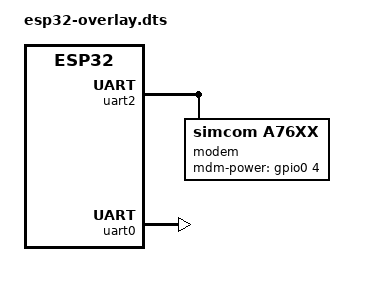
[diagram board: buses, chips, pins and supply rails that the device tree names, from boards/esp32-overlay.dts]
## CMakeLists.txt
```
# SPDX-License-Identifier: Apache-2.0

cmake_minimum_required(VERSION 3.20.0)

find_package(Zephyr REQUIRED HINTS $ENV{ZEPHYR_BASE})
project(cellular_update)
zephyr_library_include_directories(${ZEPHYR_BASE}/drivers/modem)
zephyr_library_include_directories(${ZEPHYR_BASE}/subsys/net/ip)  # more include dirs needed
zephyr_library_include_directories(${ZEPHYR_BASE}/subsys/net/lib/sockets)  # more include dirs needed
target_sources(app PRIVATE src/main.c)
```

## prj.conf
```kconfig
CONFIG_BOOTLOADER_MCUBOOT=y

# Log config
CONFIG_LOG=y
CONFIG_LOG_DEFAULT_LEVEL=3
CONFIG_MODEM_LOG_LEVEL_DBG=y
CONFIG_UART_LOG_LEVEL_DBG=y
CONFIG_MODEM_CONTEXT_VERBOSE_DEBUG=y
CONFIG_LOG_MODE_IMMEDIATE=y
CONFIG_LOG_MODE_MINIMAL=y
# CONFIG_LOG_THREAD_ID_PREFIX=y
# CONFIG_LOG_TRACE_SHORT_TIMESTAMP=y

# Networking systems
CONFIG_NETWORKING=y
CONFIG_NET_OFFLOAD=y
# needed for MODEM_SOCKET
CONFIG_NET_SOCKETS=y
# needed for socket_offload.h
CONFIG_NET_SOCKETS_OFFLOAD=y
# needed for pollfd (and probably other stuff)
CONFIG_POSIX_API=y
# only allow ipv4
CONFIG_NET_IPV4=y
CONFIG_NET_IPV6=n
# Network events
CONFIG_NET_MGMT=y
CONFIG_NET_MGMT_EVENT=y

# Modem config
CONFIG_MODEM=y
CONFIG_MODEM_A76XX=y
CONFIG_MODEM_SIM_NUMBERS=n
CONFIG_MODEM_SIMCOM_A76XX_RAT_NB1=n
CONFIG_MODEM_SIMCOM_A76XX_RAT_M1=n
CONFIG_MODEM_SIMCOM_A76XX_RAT_GSM=y

# Coap stuff
CONFIG_COAP=y

# Core dumping for debugging
# CONFIG_DEBUG_COREDUMP=y
# CONFIG_DEBUG_COREDUMP_BACKEND_LOGGING=y






































































# # # CONFIG_MODEM_CONTEXT_VERBOSE_DEBUG=y

# # # ---------------------------------
# # # Stuff below i got from the modem examples
# # # ---------------------------------

# # # CONFIG_POSIX_API=y

# # # # Networking
# # CONFIG_NETWORKING=y
# # CONFIG_NET_NATIVE=y
# # CONFIG_NET_L2_PPP=y
# CONFIG_NET_IPV4=y
# CONFIG_NET_IPV6=n
# CONFIG_NET_UDP=y
# CONFIG_NET_SOCKETS=y
# # CONFIG_NET_CONTEXT_RCVTIMEO=y

# # # # DNS
# # CONFIG_DNS_RESOLVER=y
# # CONFIG_NET_L2_PPP_OPTION_DNS_USE=y

# # # # Network management
# # CONFIG_NET_MGMT=y
# # CONFIG_NET_MGMT_EVENT=y
# # CONFIG_NET_CONNECTION_MANAGER=y

# # # # Uart driver
# CONFIG_SERIAL=y

# # # # Modem driver
# CONFIG_MODEM=y
# CONFIG_MODEM_A76XX=y
# CONFIG_MODEM_SIM_NUMBERS=n
# # # CONFIG_MODEM_SIM7080=y  # just for testing
# # # CONFIG_PM_DEVICE=y
# # # CONFIG_MODEM_CELLULAR=y

# # # # Statistics
# # # CONFIG_MODEM_STATS=y
# # # CONFIG_SHELL=y

# # # # Testing
# # # CONFIG_MODEM_AT_SHELL=y
# # # CONFIG_PM_DEVICE_SHELL=y
# # # CONFIG_SHELL_WILDCARD=n

# # # # Logging
# # # CONFIG_LOG=y
# # # CONFIG_MODEM_MODULES_LOG_LEVEL_DBG=y
# # # # For extra verbosity
# # # #CONFIG_MODEM_CMUX_LOG_LEVEL_DBG=y
# # # #CONFIG_LOG_BUFFER_SIZE=65536

# # # other stuff i added
# # CONFIG_MODEM_SIMCOM_A76XX_RAT_GSM=y

# # # Enable Zephyr's built-in CoAP library
# # CONFIG_COAP=y

# # # Enable the DNS resolver to look up domain names like "coap.me"
# # CONFIG_DNS_RESOLVER=y

# # # Set a default message size for the CoAP client
# # CONFIG_COAP_CLIENT_MESSAGE_SIZE=256


# # # Generic networking options
# # CONFIG_NETWORKING=y
# # CONFIG_REQUIRES_FULL_LIBC=y
# # CONFIG_NET_IPV4=y
# # CONFIG_NET_UDP=y

# # CONFIG_NET_SOCKETS=y
# # CONFIG_ZVFS_POLL_MAX=4
# # CONFIG_POSIX_API=y

# # CONFIG_COAP=y
# # CONFIG_COAP_CLIENT=y

# # # Kernel options
# # CONFIG_ENTROPY_GENERATOR=y
# # CONFIG_TEST_RANDOM_GENERATOR=y

# # # Logging
# # CONFIG_PRINTK=y
# # CONFIG_NET_LOG=y

# # # Network Shell
# # CONFIG_NET_SHELL=y

# # CONFIG_NET_CONFIG_SETTINGS=y
# # CONFIG_NET_CONFIG_NEED_IPV4=y
# # # CONFIG_NET_CONFIG_MY_IPV6_ADDR="2001:db8::2"
# # # CONFIG_NET_CONFIG_PEER_IPV6_ADDR="2001:db8::1"

# # CONFIG_HEAP_MEM_POOL_SIZE=5184

# # # Enable automatic initialization of the default network interface by net_config.
# # # This tells the system to automatically start the modem setup process.
# # # CONFIG_NET_CONFIG_AUTO_INIT=y


# # --- Bootloader ---
# # This is for your firmware updates, it's fine.
# CONFIG_BOOTLOADER_MCUBOOT=y

# # --- Core Networking ---
# # These are the basics needed for any IP-based application.
# CONFIG_NETWORKING=y
# # Socket offload drivers do not use the native Zephyr stack
# CONFIG_NET_NATIVE=n
# CONFIG_NET_SOCKETS=y
# CONFIG_NET_IPV4=y
# CONFIG_NET_UDP=y

# # --- Modem Driver Configuration (THE MOST IMPORTANT PART) ---

# # Enable the main modem subsystem
# CONFIG_MODEM=y

# # 1. CORRECTLY ENABLE YOUR CUSTOM DRIVER
# # Note: The Kconfig is likely CONFIG_MODEM_SIMCOM_A76XX, not A76XX.
# # Please double-check the Kconfig file in your driver directory.
# CONFIG_MODEM_A76XX=y

# # 2. EXPLICITLY DISABLE THE CONFLICTING PPP DRIVER
# # This is the root cause of many of your issues. Your socket offload
# # driver does NOT use or need the PPP protocol.
# CONFIG_NET_L2_PPP=n

# # 3. EXPLICITLY DISABLE THE GENERIC CELLULAR DRIVER
# # This prevents the linker errors we saw earlier.
# CONFIG_MODEM_CELLULAR=n

# # --- Network Management (THE FIX FOR THE TIMEOUT) ---

# # Enable the network management subsystem
# CONFIG_NET_MGMT=y
# CONFIG_NET_MGMT_EVENT=y

# # 4. ENABLE AUTO-START
# # This tells Zephyr to automatically find your modem interface and run its
# # setup sequence. You had this commented out, which is a critical error.
# # CONFIG_NET_CONFIG_AUTO_INIT=y
# # CONFIG_NET_CONFIG_INIT_TIMEOUT=60 # Give it 60 seconds to connect

# # --- Logging ---
# # A clean, basic logging setup.
# # CONFIG_LOG=y
# # CONFIG_LOG_DEFAULT_LEVEL=3 # Print INFO messages by default
# # CONFIG_MODEM_LOG_LEVEL_DBG=y # Enable DEBUG logs specifically for modem drivers
```

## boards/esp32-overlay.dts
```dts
/ {
	chosen {
		zephyr,console = &uart0;
		zephyr,shell-uart = &uart0;
	};

	aliases {
        modem-uart = &uart2;
		modem = &modem;
    };
};


//&pinctrl {
//    uart0_default: uart0_default {
//        group1 {
//            pinmux = <UART0_TX_GPIO1>, <UART0_RTS_GPIO22>;
//            output-high;
//        };
//        group2 {
//            pinmux = <UART0_RX_GPIO3>, <UART0_CTS_GPIO19>;
//            bias-pull-up;
//        };
//    };
//};

&uart2 {
    modem: modem {
		compatible = "simcom,a76xx";
        mdm-power-gpios = <&gpio0 4 GPIO_ACTIVE_HIGH>;
		status = "okay";
	};
    status = "okay";
};

&uart0 {
	status = "okay";
};
```

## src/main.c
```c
// ------------------------ START BASIC HELLO A76XX ------------------------>
// #include <stdio.h>
// #include <zephyr/device.h>
// #include <zephyr/kernel.h>
// #include <zephyr/logging/log.h>
// LOG_MODULE_REGISTER(main, LOG_LEVEL_DBG);
// #include "app/drivers/simcom-a76xx.h"

// // const struct device *modem = DEVICE_DT_GET(DT_ALIAS(modem));
// // const struct device *modem_uart = DEVICE_DT_GET(DT_ALIAS(modem_uart));

// int main(void)
// {
//     printf("Hello World! %s\n", CONFIG_BOARD_TARGET);

//     // if (!device_is_ready(modem) || !device_is_ready(modem_uart))
//     // {
//     //     printf("ERROR: Modem devices not found or not ready.\n");
//     //     return -1;
//     // }
//     // printf("SUCCESS: Successfully got modem device handle: %s\n", modem->name);

//     while (1) {
//         k_sleep(K_SECONDS(10));
//     }
//     return 0;
// }
// ------------------------ END BASIC HELLO A76XX ------------------------>


#include <zephyr/logging/log.h>
LOG_MODULE_REGISTER(main, LOG_LEVEL_DBG);

#include <errno.h>
#include <zephyr/sys/byteorder.h>
#include <zephyr/kernel.h>

#include <zephyr/net/socket.h>
#include <zephyr/net/net_mgmt.h>
#include <zephyr/net/net_ip.h>
#include <zephyr/net/udp.h>
#include <zephyr/net/coap.h>

#include "net_private.h"

const struct device *modem = DEVICE_DT_GET(DT_ALIAS(modem));
const struct device *modem_uart = DEVICE_DT_GET(DT_ALIAS(modem_uart));

#define PEER_PORT 5683
#define MAX_COAP_MSG_LEN 256

/* CoAP socket fd */
static int sock;

struct pollfd fds[1];
static int nfds;

/* CoAP Options */
static const char * const test_path[] = { "hello", NULL };

static void wait(void)
{    
    int ret;

    // A good "before" message states the action and the specific resource.
    LOG_DBG("Blocking on poll(), waiting for data on socket fd %d...", fds[0].fd);

    ret = poll(fds, nfds, -1);
    if (ret < 0) {
        LOG_ERR("Error in poll(): %d", errno);
    } else {
        // A good "after" message confirms the action is complete.
        LOG_DBG("Woke up from poll(), events received.");
    }
}

static void prepare_fds(void)
{
	fds[nfds].fd = sock;
	fds[nfds].events = POLLIN;
	nfds++;
}

static int start_coap_client(void)
{
	int ret = 0;
	struct sockaddr_in addr;

	addr.sin_family = AF_INET;
	addr.sin_port = htons(PEER_PORT);

	inet_pton(AF_INET, "134.102.218.18",
		  &addr.sin_addr);

	sock = socket(addr.sin_family, SOCK_DGRAM, IPPROTO_UDP);
	if (sock < 0) {
		LOG_ERR("Failed to create UDP socket %d", errno);
		return -errno;
	} else {
        LOG_DBG("Created socket with fd %d.", sock);
    }

	ret = connect(sock, (struct sockaddr *)&addr, sizeof(addr));
	if (ret < 0) {
		LOG_ERR("Cannot connect to UDP remote : %d", errno);
		return -errno;
	}

	prepare_fds();

	return 0;
}

static int process_simple_coap_reply(void)
{
	struct coap_packet reply;
	uint8_t *data;
	int rcvd;
	int ret;

    LOG_DBG("Starting to process simple CoAP reply...");

	wait();

	data = (uint8_t *)k_malloc(MAX_COAP_MSG_LEN);
	if (!data) {
		return -ENOMEM;
	}

	rcvd = recv(sock, data, MAX_COAP_MSG_LEN, MSG_DONTWAIT);
	if (rcvd == 0) {
		ret = -EIO;
		goto end;
	}

	if (rcvd < 0) {
		if (errno == EAGAIN || errno == EWOULDBLOCK) {
			ret = 0;
		} else {
			ret = -errno;
		}

		goto end;
	}

	net_hexdump("Response", data, rcvd);

	ret = coap_packet_parse(&reply, data, rcvd, NULL, 0);
	if (ret < 0) {
		LOG_ERR("Invalid data received");
	}

    /*
	 * THE FIX: Extract and print the human-readable payload.
	 */
	uint8_t *payload;
	uint16_t payload_len;

	payload = coap_packet_get_payload(&reply, &payload_len);
	if (payload && payload_len > 0) {
		/*
		 * Use the %.*s format specifier to print the payload,
		 * which is not a null-terminated string.
		 */
		LOG_INF("CoAP response payload: %.*s", payload_len, payload);
	} else {
		LOG_WRN("CoAP response has no payload.");
	}

end:
	k_free(data);

	return ret;
}

static int send_simple_coap_request(uint8_t method)
{
	uint8_t payload[] = "payload";
	struct coap_packet request;
	const char * const *p;
	uint8_t *data;
	int r;

	data = (uint8_t *)k_malloc(MAX_COAP_MSG_LEN);
	if (!data) {
		return -ENOMEM;
	}

	r = coap_packet_init(&request, data, MAX_COAP_MSG_LEN,
			     COAP_VERSION_1, COAP_TYPE_CON,
			     COAP_TOKEN_MAX_LEN, coap_next_token(),
			     method, coap_next_id());
	if (r < 0) {
		LOG_ERR("Failed to init CoAP message");
		goto end;
	}

	for (p = test_path; p && *p; p++) {
		r = coap_packet_append_option(&request, COAP_OPTION_URI_PATH,
					      *p, strlen(*p));
		if (r < 0) {
			LOG_ERR("Unable add option to request");
			goto end;
		}
	}

	switch (method) {
	case COAP_METHOD_GET:
	case COAP_METHOD_DELETE:
		break;

	case COAP_METHOD_PUT:
	case COAP_METHOD_POST:
		r = coap_packet_append_payload_marker(&request);
		if (r < 0) {
			LOG_ERR("Unable to append payload marker");
			goto end;
		}

		r = coap_packet_append_payload(&request, (uint8_t *)payload,
					       sizeof(payload) - 1);
		if (r < 0) {
			LOG_ERR("Not able to append payload");
			goto end;
		}

		break;
	default:
		r = -EINVAL;
		goto end;
	}

	net_hexdump("Request", request.data, request.offset);

	r = send(sock, request.data, request.offset, 0);

end:
	k_free(data);

	return r;
}

static int send_simple_coap_msgs_and_wait_for_reply(void)
{
	uint8_t test_type = 0U;
	int r;

	while (1) {
		switch (test_type) {
		case 0:
			/* Test CoAP GET method */
			LOG_INF("CoAP client GET");
			r = send_simple_coap_request(COAP_METHOD_GET);
			if (r < 0) {
				return r;
			}

			break;
		case 1:
			/* Test CoAP PUT method */
			LOG_INF("CoAP client PUT");
			r = send_simple_coap_request(COAP_METHOD_PUT);
			if (r < 0) {
				return r;
			}

			break;
		case 2:
			/* Test CoAP POST method*/
			LOG_INF("CoAP client POST");
			r = send_simple_coap_request(COAP_METHOD_POST);
			if (r < 0) {
				return r;
			}

			break;
		case 3:
			/* Test CoAP DELETE method*/
			LOG_INF("CoAP client DELETE");
			r = send_simple_coap_request(COAP_METHOD_DELETE);
			if (r < 0) {
				return r;
			}

			break;
		default:
			return 0;
		}

		r = process_simple_coap_reply();
		if (r < 0) {
			return r;
		}

		test_type++;
	}

	return 0;
}

static K_SEM_DEFINE(wait_for_net, 0, 1);

static void event_handler(uint64_t mgmt_event, struct net_if *iface,
                          void *info, size_t info_length,
                          void *user_data)
{
	if (mgmt_event == NET_EVENT_IF_UP) {
		LOG_INF("Network interface is UP! Connection is ready.");
		/* Unblock the main thread now that the network is ready */
		k_sem_give(&wait_for_net);
	}
}

NET_MGMT_REGISTER_EVENT_HANDLER(iface_event_handler, NET_EVENT_IF_UP,
                                event_handler, NULL);


int main(void)
{

	LOG_INF("Waiting for network connection...");
	k_sem_take(&wait_for_net, K_FOREVER);
	LOG_INF("Network connection established.");

	int r;

	LOG_DBG("Start CoAP-client sample");
	r = start_coap_client();
	if (r < 0) {
		goto quit;
	}

	/* GET, PUT, POST, DELETE */
	r = send_simple_coap_msgs_and_wait_for_reply();
	if (r < 0) {
		goto quit;
	}

	/* Close the socket */
	(void)close(sock);

	LOG_DBG("Done");

	return 0;

quit:
	(void)close(sock);

	LOG_ERR("quit");

	return 0;
}
```
